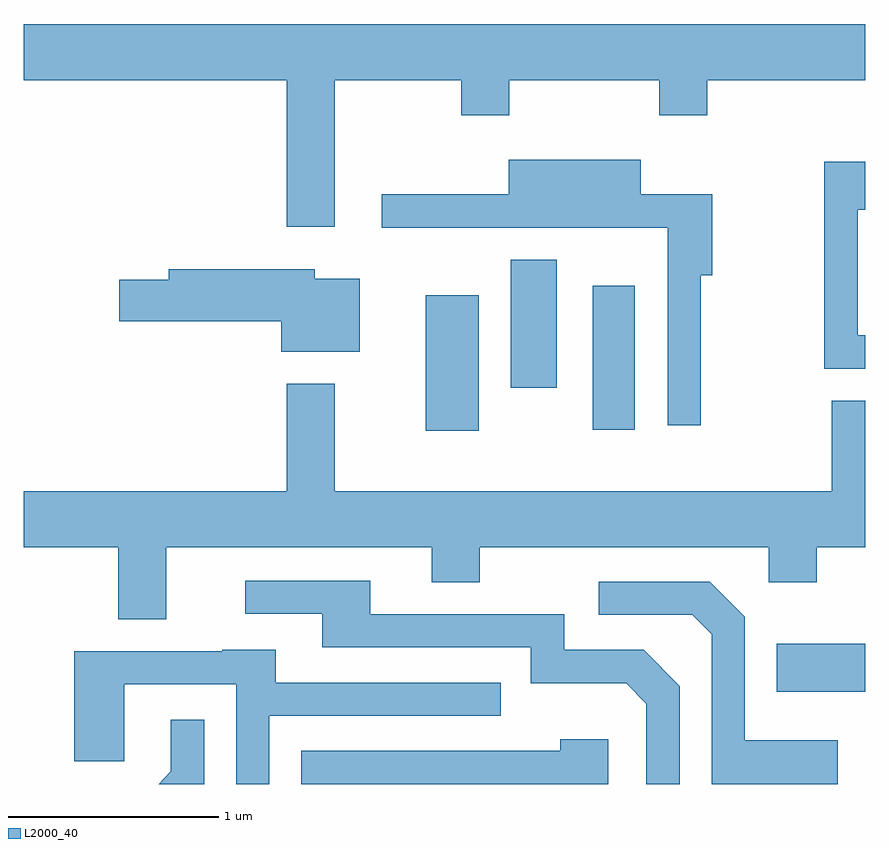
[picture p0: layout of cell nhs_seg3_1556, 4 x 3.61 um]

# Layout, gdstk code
import gdstk
lib = gdstk.Library(unit=1e-6, precision=1e-09)
def R(c, l, rs):  # rectangles x0, y0, x1, y1
    for r in rs: c.add(gdstk.rectangle(r[:2], r[2:], *l))
def P(c, l, *ps):  # polygons
    for p in ps: c.add(gdstk.Polygon(p, *l))
L2000_40 = (2000, 40)

nhs_seg3_1556 = lib.new_cell('nhs_seg3_1556')
R(nhs_seg3_1556, L2000_40, [(233.191,1236.331,233.611,1236.559), (231.521,1237.571,231.774,1238.214), (232.316,1237.576,232.514,1238.259), (231.926,1237.776,232.144,1238.384)])
P(nhs_seg3_1556, L2000_40, [(231.089,1239.236),(231.691,1239.236),(231.691,1239.071),(231.919,1239.071),(231.919,1239.236),(232.631,1239.236),(232.631,1239.071),(232.859,1239.071),(232.859,1239.236),(233.611,1239.236),(233.611,1239.504),(229.611,1239.504),(229.611,1239.236),(230.861,1239.236),(230.861,1238.541),(231.089,1238.541)],
  [(232.829,1238.311),(232.884,1238.311),(232.884,1238.694),(232.544,1238.694),(232.544,1238.859),(231.916,1238.859),(231.916,1238.694),(231.313,1238.694),(231.313,1238.536),(232.671,1238.536),(232.671,1237.598),(232.829,1237.598)],
  [(233.611,1238.024),(233.574,1238.024),(233.574,1238.621),(233.611,1238.621),(233.611,1238.849),(233.416,1238.849),(233.416,1237.866),(233.611,1237.866)],
  [(231.209,1238.294),(230.994,1238.294),(230.994,1238.339),(230.301,1238.339),(230.301,1238.289),(230.066,1238.289),(230.066,1238.091),(230.836,1238.091),(230.836,1237.946),(231.209,1237.946)],
  [(230.289,1237.016),(231.551,1237.016),(231.551,1236.851),(231.779,1236.851),(231.779,1237.016),(233.151,1237.016),(233.151,1236.851),(233.379,1236.851),(233.379,1237.016),(233.611,1237.016),(233.611,1237.714),(233.451,1237.714),(233.451,1237.284),(231.089,1237.284),(231.089,1237.794),(230.861,1237.794),(230.861,1237.284),(229.611,1237.284),(229.611,1237.016),(230.061,1237.016),(230.061,1236.676),(230.289,1236.676)],
  [(232.729,1236.357),(232.557,1236.529),(232.179,1236.529),(232.179,1236.699),(231.259,1236.699),(231.259,1236.859),(230.663,1236.859),(230.663,1236.701),(231.031,1236.701),(231.031,1236.541),(232.021,1236.541),(232.021,1236.371),(232.474,1236.371),(232.571,1236.274),(232.571,1235.892),(232.729,1235.892)],
  [(233.479,1236.099),(233.039,1236.099),(233.039,1236.687),(232.872,1236.854),(232.343,1236.854),(232.343,1236.696),(232.789,1236.696),(232.881,1236.604),(232.881,1235.892),(233.479,1235.892)],
  [(230.779,1236.216),(231.878,1236.216),(231.878,1236.374),(230.809,1236.374),(230.809,1236.529),(230.555,1236.529),(230.555,1236.524),(229.851,1236.524),(229.851,1236.001),(230.089,1236.001),(230.089,1236.366),(230.621,1236.366),(230.621,1235.892),(230.779,1235.892)],
  [(230.469,1236.198),(230.311,1236.198),(230.311,1235.952),(230.252,1235.892),(230.469,1235.892)],
  [(232.389,1236.104),(232.161,1236.104),(232.161,1236.049),(230.931,1236.049),(230.931,1235.892),(232.389,1235.892)])

lib.write_gds('nhs_seg3_1556.gds')
